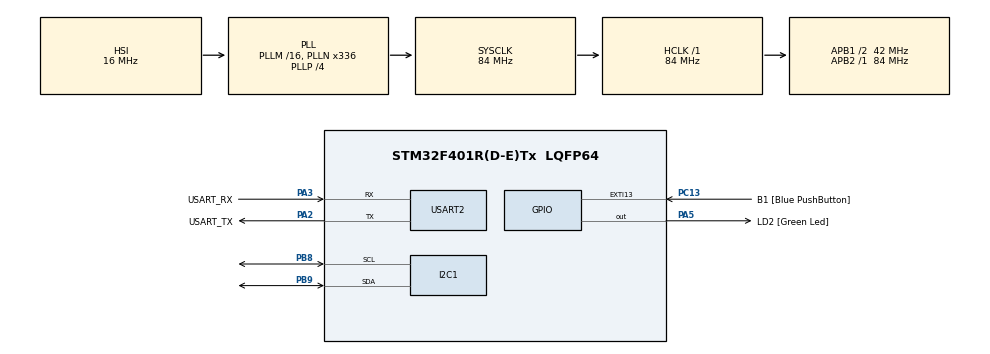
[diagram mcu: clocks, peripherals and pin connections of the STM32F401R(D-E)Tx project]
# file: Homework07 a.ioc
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Dma.Request0=USART2_TX
Dma.USART2_TX.0.Direction=DMA_MEMORY_TO_PERIPH
Dma.USART2_TX.0.FIFOMode=DMA_FIFOMODE_DISABLE
Dma.USART2_TX.0.Instance=DMA1_Stream6
Dma.USART2_TX.0.MemDataAlignment=DMA_MDATAALIGN_BYTE
Dma.USART2_TX.0.MemInc=DMA_MINC_ENABLE
Dma.USART2_TX.0.Mode=DMA_NORMAL
Dma.USART2_TX.0.PeriphDataAlignment=DMA_PDATAALIGN_BYTE
Dma.USART2_TX.0.PeriphInc=DMA_PINC_DISABLE
Dma.USART2_TX.0.Priority=DMA_PRIORITY_LOW
I2C1.AddressingMode=I2C_ADDRESSINGMODE_7BIT
Mcu.Family=STM32F4
Mcu.Name=STM32F401R(D-E)Tx
Mcu.Package=LQFP64
NVIC.DMA1_Stream6_IRQn=true\:0\:0\:false\:false\:true\:false\:true\:true
NVIC.I2C1_ER_IRQn=true\:0\:0\:false\:false\:true\:true\:true\:true
NVIC.I2C1_EV_IRQn=true\:0\:0\:false\:false\:true\:true\:true\:true
NVIC.PriorityGroup=NVIC_PRIORITYGROUP_0
NVIC.TIM2_IRQn=true\:0\:0\:false\:false\:true\:true\:true\:true
NVIC.USART2_IRQn=true\:0\:0\:false\:false\:true\:true\:true\:true
PA13.GPIO_Label=TMS
PA13.Mode=Serial_Wire
PA13.Signal=SYS_JTMS-SWDIO
PA14.GPIO_Label=TCK
PA14.Mode=Serial_Wire
PA14.Signal=SYS_JTCK-SWCLK
PA2.GPIO_Label=USART_TX
PA2.GPIO_Mode=GPIO_MODE_AF_PP
PA2.GPIO_PuPd=GPIO_NOPULL
PA2.GPIO_Speed=GPIO_SPEED_FREQ_LOW
PA2.Mode=Asynchronous
PA2.Signal=USART2_TX
PA3.GPIO_Label=USART_RX
PA3.GPIO_Mode=GPIO_MODE_AF_PP
PA3.GPIO_PuPd=GPIO_NOPULL
PA3.GPIO_Speed=GPIO_SPEED_FREQ_LOW
PA3.Mode=Asynchronous
PA3.Signal=USART2_RX
PA5.GPIO_Label=LD2 [Green Led]
PA5.GPIO_Mode=GPIO_MODE_OUTPUT_PP
PA5.GPIO_PuPd=GPIO_NOPULL
PA5.GPIO_Speed=GPIO_SPEED_FREQ_LOW
PA5.Signal=GPIO_Output
PB3.GPIO_Label=SWO
PB3.Signal=SYS_JTDO-SWO
PB8.Mode=I2C
PB8.Signal=I2C1_SCL
PB9.Mode=I2C
PB9.Signal=I2C1_SDA
PC13-ANTI_TAMP.GPIO_Label=B1 [Blue PushButton]
PC13-ANTI_TAMP.GPIO_ModeDefaultEXTI=GPIO_MODE_IT_FALLING
PC13-ANTI_TAMP.GPIO_PuPd=GPIO_NOPULL
PC13-ANTI_TAMP.Signal=GPXTI13
PC14-OSC32_IN.Mode=LSE-External-Oscillator
PC14-OSC32_IN.Signal=RCC_OSC32_IN
PC15-OSC32_OUT.Mode=LSE-External-Oscillator
PC15-OSC32_OUT.Signal=RCC_OSC32_OUT
PH0\ -\ OSC_IN.Mode=HSE-External-Clock-Source
PH0\ -\ OSC_IN.Signal=RCC_OSC_IN
PH1\ -\ OSC_OUT.Mode=HSE-External-Clock-Source
PH1\ -\ OSC_OUT.Signal=RCC_OSC_OUT
ProjectManager.HeapSize=0x200
ProjectManager.StackSize=0x400
ProjectManager.TargetToolchain=STM32CubeIDE
RCC.48MHZClocksFreq_Value=48000000
RCC.AHBFreq_Value=84000000
RCC.APB1CLKDivider=RCC_HCLK_DIV2
RCC.APB1Freq_Value=42000000
RCC.APB1TimFreq_Value=84000000
RCC.APB2Freq_Value=84000000
RCC.APB2TimFreq_Value=84000000
RCC.CortexFreq_Value=84000000
RCC.HCLKFreq_Value=84000000
RCC.HSE_VALUE=8000000
RCC.HSI_VALUE=16000000
RCC.PLLN=336
RCC.PLLP=RCC_PLLP_DIV4
RCC.PLLQ=7
RCC.SYSCLKFreq_VALUE=84000000
RCC.SYSCLKSource=RCC_SYSCLKSOURCE_PLLCLK
RCC.VCOOutputFreq_Value=336000000
TIM2.Period=8399
TIM2.Prescaler=9999
USART2.VirtualMode=VM_ASYNC
VP_TIM2_VS_ClockSourceINT.Mode=Internal
board=NUCLEO-F401RE

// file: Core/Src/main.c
/* USER CODE BEGIN Header */
/**
 ******************************************************************************
 * @file           : main.c
 * @brief          : Main program body
 ******************************************************************************
 * @attention
 *
 * Copyright (c) 2024 STMicroelectronics.
 * All rights reserved.
 *
 * This software is licensed under terms that can be found in the LICENSE file
 * in the root directory of this software component.
 * If no LICENSE file comes with this software, it is provided AS-IS.
 *
 ******************************************************************************
 */
/* USER CODE END Header */
#include "main.h"

/* USER CODE BEGIN PD */
#define READ_ADDRESS 0b10010001
#define WRITE_ADDRESS 0b10010000
/* USER CODE END PD */

I2C_HandleTypeDef hi2c1;

TIM_HandleTypeDef htim2;

UART_HandleTypeDef huart2;
DMA_HandleTypeDef hdma_usart2_tx;

/* USER CODE BEGIN PV */

uint8_t value[2];
char output[18];
float temp;
/* USER CODE END PV */

void SystemClock_Config(void);
static void MX_GPIO_Init(void);
static void MX_DMA_Init(void);
static void MX_USART2_UART_Init(void);
static void MX_I2C1_Init(void);
static void MX_TIM2_Init(void);

/* USER CODE BEGIN 0 */

int times_called = 0;

HAL_I2C_MasterRxCpltCallback(I2C_HandleTypeDef *hi2c){
	if(hi2c == &hi2c1){
		if(times_called == 0){
			times_called = 1;
			return HAL_OK;
		}
		times_called=0;
		if(value[0]>127){
			value[0] = value[0] & 0b01111111;
			temp = value[0]<<8 | value[1];
			temp = -128 + temp/256.0f;
		}else{
			temp = value[0]<<8 | value[1];
			temp = temp/256.0f;
		}
		snprintf(output, 100, "Temp:  %.3f C\r\n", temp);
		HAL_UART_Transmit_DMA(&huart2, output, strlen(output));
	}
}

HAL_TIM_PeriodElapsedCallback(TIM_HandleTypeDef *htim){
	if(htim == &htim2){
		HAL_I2C_Master_Receive_IT(&hi2c1, READ_ADDRESS, value, 2);
		HAL_I2C_Master_Receive_IT(&hi2c1, READ_ADDRESS, value, 2);
	}
}

/* USER CODE END 0 */

int main(void)
{

  /* MCU Configuration--------------------------------------------------------*/

  /* Reset of all peripherals, Initializes the Flash interface and the Systick. */
  HAL_Init();

  /* Configure the system clock */
  SystemClock_Config();

  /* Initialize all configured peripherals */
  MX_GPIO_Init();
  MX_DMA_Init();
  MX_USART2_UART_Init();
  MX_I2C1_Init();
  MX_TIM2_Init();
  /* USER CODE BEGIN 2 */
	HAL_TIM_Base_Start_IT(&htim2);
	HAL_I2C_Master_Transmit(&hi2c1, WRITE_ADDRESS, 0x00, 1, HAL_MAX_DELAY);
  /* USER CODE END 2 */

  /* Infinite loop */
	while (1)
	{

	}
}

void SystemClock_Config(void)
{
  RCC_OscInitTypeDef RCC_OscInitStruct = {0};
  RCC_ClkInitTypeDef RCC_ClkInitStruct = {0};

  /** Configure the main internal regulator output voltage
  */
  __HAL_RCC_PWR_CLK_ENABLE();
  __HAL_PWR_VOLTAGESCALING_CONFIG(PWR_REGULATOR_VOLTAGE_SCALE2);

  /** Initializes the RCC Oscillators according to the specified parameters
  * in the RCC_OscInitTypeDef structure.
  */
  RCC_OscInitStruct.OscillatorType = RCC_OSCILLATORTYPE_HSI;
  RCC_OscInitStruct.HSIState = RCC_HSI_ON;
  RCC_OscInitStruct.HSICalibrationValue = RCC_HSICALIBRATION_DEFAULT;
  RCC_OscInitStruct.PLL.PLLState = RCC_PLL_ON;
  RCC_OscInitStruct.PLL.PLLSource = RCC_PLLSOURCE_HSI;
  RCC_OscInitStruct.PLL.PLLM = 16;
  RCC_OscInitStruct.PLL.PLLN = 336;
  RCC_OscInitStruct.PLL.PLLP = RCC_PLLP_DIV4;
  RCC_OscInitStruct.PLL.PLLQ = 7;
  if (HAL_RCC_OscConfig(&RCC_OscInitStruct) != HAL_OK)
  {
    Error_Handler();
  }

  /** Initializes the CPU, AHB and APB buses clocks
  */
  RCC_ClkInitStruct.ClockType = RCC_CLOCKTYPE_HCLK|RCC_CLOCKTYPE_SYSCLK
                              |RCC_CLOCKTYPE_PCLK1|RCC_CLOCKTYPE_PCLK2;
  RCC_ClkInitStruct.SYSCLKSource = RCC_SYSCLKSOURCE_PLLCLK;
  RCC_ClkInitStruct.AHBCLKDivider = RCC_SYSCLK_DIV1;
  RCC_ClkInitStruct.APB1CLKDivider = RCC_HCLK_DIV2;
  RCC_ClkInitStruct.APB2CLKDivider = RCC_HCLK_DIV1;

  if (HAL_RCC_ClockConfig(&RCC_ClkInitStruct, FLASH_LATENCY_2) != HAL_OK)
  {
    Error_Handler();
  }
}

static void MX_I2C1_Init(void)
{

  hi2c1.Instance = I2C1;
  hi2c1.Init.ClockSpeed = 100000;
  hi2c1.Init.DutyCycle = I2C_DUTYCYCLE_2;
  hi2c1.Init.OwnAddress1 = 0;
  hi2c1.Init.AddressingMode = I2C_ADDRESSINGMODE_7BIT;
  hi2c1.Init.DualAddressMode = I2C_DUALADDRESS_DISABLE;
  hi2c1.Init.OwnAddress2 = 0;
  hi2c1.Init.GeneralCallMode = I2C_GENERALCALL_DISABLE;
  hi2c1.Init.NoStretchMode = I2C_NOSTRETCH_DISABLE;
  if (HAL_I2C_Init(&hi2c1) != HAL_OK)
  {
    Error_Handler();
  }

}

static void MX_TIM2_Init(void)
{

  TIM_ClockConfigTypeDef sClockSourceConfig = {0};
  TIM_MasterConfigTypeDef sMasterConfig = {0};

  htim2.Instance = TIM2;
  htim2.Init.Prescaler = 9999;
  htim2.Init.CounterMode = TIM_COUNTERMODE_UP;
  htim2.Init.Period = 8399;
  htim2.Init.ClockDivision = TIM_CLOCKDIVISION_DIV1;
  htim2.Init.AutoReloadPreload = TIM_AUTORELOAD_PRELOAD_DISABLE;
  if (HAL_TIM_Base_Init(&htim2) != HAL_OK)
  {
    Error_Handler();
  }
  sClockSourceConfig.ClockSource = TIM_CLOCKSOURCE_INTERNAL;
  if (HAL_TIM_ConfigClockSource(&htim2, &sClockSourceConfig) != HAL_OK)
  {
    Error_Handler();
  }
  sMasterConfig.MasterOutputTrigger = TIM_TRGO_RESET;
  sMasterConfig.MasterSlaveMode = TIM_MASTERSLAVEMODE_DISABLE;
  if (HAL_TIMEx_MasterConfigSynchronization(&htim2, &sMasterConfig) != HAL_OK)
  {
    Error_Handler();
  }

}

static void MX_USART2_UART_Init(void)
{

  huart2.Instance = USART2;
  huart2.Init.BaudRate = 115200;
  huart2.Init.WordLength = UART_WORDLENGTH_8B;
  huart2.Init.StopBits = UART_STOPBITS_1;
  huart2.Init.Parity = UART_PARITY_NONE;
  huart2.Init.Mode = UART_MODE_TX_RX;
  huart2.Init.HwFlowCtl = UART_HWCONTROL_NONE;
  huart2.Init.OverSampling = UART_OVERSAMPLING_16;
  if (HAL_UART_Init(&huart2) != HAL_OK)
  {
    Error_Handler();
  }

}

static void MX_DMA_Init(void)
{

  /* DMA controller clock enable */
  __HAL_RCC_DMA1_CLK_ENABLE();

  /* DMA interrupt init */
  /* DMA1_Stream6_IRQn interrupt configuration */
  HAL_NVIC_SetPriority(DMA1_Stream6_IRQn, 0, 0);
  HAL_NVIC_EnableIRQ(DMA1_Stream6_IRQn);

}

static void MX_GPIO_Init(void)
{
  GPIO_InitTypeDef GPIO_InitStruct = {0};

  /* GPIO Ports Clock Enable */
  __HAL_RCC_GPIOC_CLK_ENABLE();
  __HAL_RCC_GPIOH_CLK_ENABLE();
  __HAL_RCC_GPIOA_CLK_ENABLE();
  __HAL_RCC_GPIOB_CLK_ENABLE();

  /*Configure GPIO pin Output Level */
  HAL_GPIO_WritePin(LD2_GPIO_Port, LD2_Pin, GPIO_PIN_RESET);

  /*Configure GPIO pin : B1_Pin */
  GPIO_InitStruct.Pin = B1_Pin;
  GPIO_InitStruct.Mode = GPIO_MODE_IT_FALLING;
  GPIO_InitStruct.Pull = GPIO_NOPULL;
  HAL_GPIO_Init(B1_GPIO_Port, &GPIO_InitStruct);

  /*Configure GPIO pin : LD2_Pin */
  GPIO_InitStruct.Pin = LD2_Pin;
  GPIO_InitStruct.Mode = GPIO_MODE_OUTPUT_PP;
  GPIO_InitStruct.Pull = GPIO_NOPULL;
  GPIO_InitStruct.Speed = GPIO_SPEED_FREQ_LOW;
  HAL_GPIO_Init(LD2_GPIO_Port, &GPIO_InitStruct);

}

void Error_Handler(void)
{
	__disable_irq();
	while (1)
	{
	}
}
